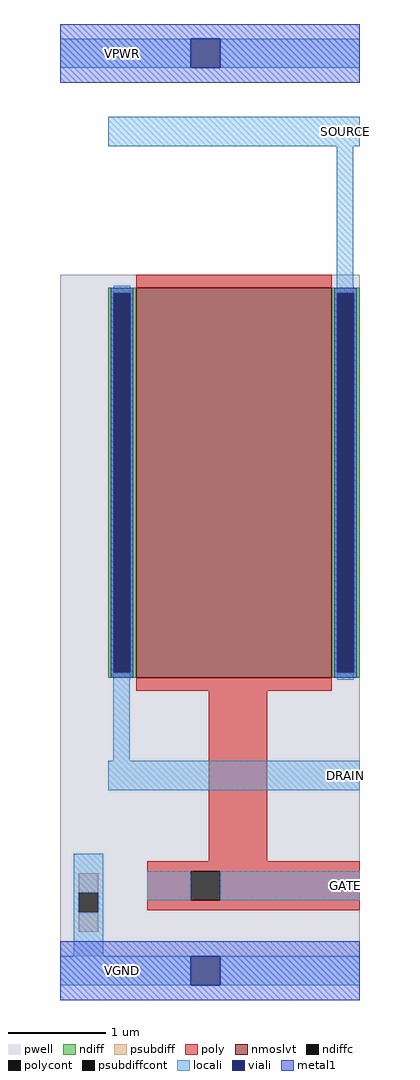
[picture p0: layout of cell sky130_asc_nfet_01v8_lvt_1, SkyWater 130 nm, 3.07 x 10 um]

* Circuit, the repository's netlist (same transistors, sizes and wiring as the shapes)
* NGSPICE file created from sky130_asc_nfet_01v8_lvt_1.ext - technology: sky130A

.subckt sky130_asc_nfet_01v8_lvt_1 GATE SOURCE DRAIN VPWR VGND
X0 SOURCE GATE DRAIN VGND sky130_fd_pr__nfet_01v8_lvt ad=1.16e+12p pd=8.58e+06u as=1.16e+12p ps=8.58e+06u w=4e+06u l=2e+06u
.ends

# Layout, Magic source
magic
tech sky130A
magscale 1 2
<< pwell >>
rect 90 30 704 1426
<< nmoslvt >>
rect 246 600 646 1400
<< ndiff >>
rect 188 1388 246 1400
rect 188 612 200 1388
rect 234 612 246 1388
rect 188 600 246 612
rect 646 1388 704 1400
rect 646 612 658 1388
rect 692 612 704 1388
rect 646 600 704 612
<< ndiffc >>
rect 200 612 234 1388
rect 658 612 692 1388
<< psubdiff >>
rect 128 160 168 200
rect 128 80 168 120
<< psubdiffcont >>
rect 128 120 168 160
<< poly >>
rect 246 1400 646 1426
rect 246 574 646 600
rect 394 224 514 574
rect 268 204 704 224
rect 268 144 358 204
rect 418 144 704 204
rect 268 124 704 144
<< polycont >>
rect 358 144 418 204
<< locali >>
rect 90 1850 358 1910
rect 418 1850 704 1910
rect 188 1690 704 1750
rect 657 1404 691 1690
rect 200 1388 234 1404
rect 199 612 200 654
rect 657 1388 692 1404
rect 657 1386 658 1388
rect 199 596 234 612
rect 658 596 692 612
rect 199 430 233 596
rect 188 370 704 430
rect 118 160 178 240
rect 118 120 128 160
rect 168 120 178 160
rect 268 144 358 204
rect 418 144 704 204
rect 118 30 178 120
rect 90 -30 358 30
rect 418 -30 704 30
<< viali >>
rect 358 1850 418 1910
rect 200 612 234 1388
rect 658 612 692 1388
rect 358 -30 418 30
<< metal1 >>
rect 90 1910 704 1940
rect 90 1850 358 1910
rect 418 1850 704 1910
rect 90 1820 704 1850
rect 194 1388 240 1400
rect 194 612 200 1388
rect 234 612 240 1388
rect 194 600 240 612
rect 652 1388 698 1400
rect 652 612 658 1388
rect 692 612 698 1388
rect 652 600 698 612
rect 90 30 704 60
rect 90 -30 358 30
rect 418 -30 704 30
rect 90 -60 704 -30
<< labels >>
flabel metal1 188 1850 248 1910 1 FreeSans 800 0 0 0 VPWR
port 4 n power bidirectional
flabel metal1 188 -30 248 30 1 FreeSans 800 0 0 0 VGND
port 5 n ground bidirectional
flabel locali 644 1690 704 1750 1 FreeSans 800 0 0 0 SOURCE
port 2 n default bidirectional
flabel locali 644 370 704 430 1 FreeSans 800 0 0 0 DRAIN
port 3 n default bidirectional
flabel locali 644 144 704 204 1 FreeSans 800 0 0 0 GATE
port 1 n default bidirectional
<< properties >>
string FIXED_BBOX 0 0 794 1880
string LEFclass CORE
string LEFsite unitasc
<< end >>
